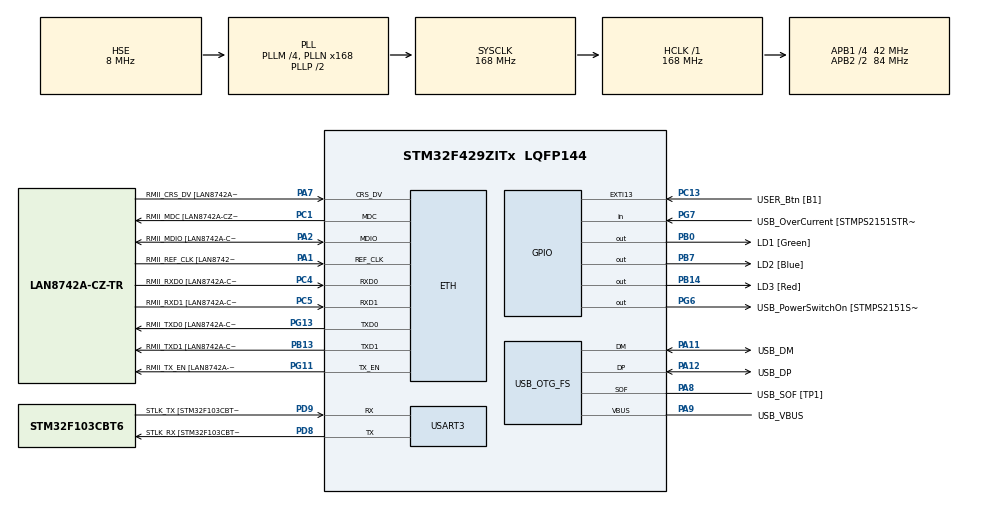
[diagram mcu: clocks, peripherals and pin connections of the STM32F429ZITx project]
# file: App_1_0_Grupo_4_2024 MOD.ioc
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ETH.MediaInterface=HAL_ETH_RMII_MODE
ETH.PHY_Name=LAN8742A_PHY_ADDRESS
ETH.PHY_Value=0
ETH.PhyAddress=0
Mcu.Family=STM32F4
Mcu.Name=STM32F429ZITx
Mcu.Package=LQFP144
NVIC.PriorityGroup=NVIC_PRIORITYGROUP_4
PA1.GPIO_Label=RMII_REF_CLK [LAN8742A-CZ-TR_REFCLK0]
PA1.Mode=RMII
PA1.Signal=ETH_REF_CLK
PA10.GPIO_Label=USB_ID
PA10.Signal=USB_OTG_FS_ID
PA11.GPIO_Label=USB_DM
PA11.Mode=Device_Only
PA11.Signal=USB_OTG_FS_DM
PA12.GPIO_Label=USB_DP
PA12.Mode=Device_Only
PA12.Signal=USB_OTG_FS_DP
PA13.GPIO_Label=TMS
PA13.Mode=Serial_Wire
PA13.Signal=SYS_JTMS-SWDIO
PA14.GPIO_Label=TCK
PA14.Mode=Serial_Wire
PA14.Signal=SYS_JTCK-SWCLK
PA2.GPIO_Label=RMII_MDIO [LAN8742A-CZ-TR_MDIO]
PA2.Mode=RMII
PA2.Signal=ETH_MDIO
PA7.GPIO_Label=RMII_CRS_DV [LAN8742A-CZ-TR_CRS_DV]
PA7.Mode=RMII
PA7.Signal=ETH_CRS_DV
PA8.GPIO_Label=USB_SOF [TP1]
PA8.Mode=Activate_SOF_FS
PA8.Signal=USB_OTG_FS_SOF
PA9.GPIO_Label=USB_VBUS
PA9.Mode=Activate_VBUS
PA9.Signal=USB_OTG_FS_VBUS
PB0.GPIO_Label=LD1 [Green]
PB0.Signal=GPIO_Output
PB13.GPIO_Label=RMII_TXD1 [LAN8742A-CZ-TR_TXD1]
PB13.Mode=RMII
PB13.Signal=ETH_TXD1
PB14.GPIO_Label=LD3 [Red]
PB14.Signal=GPIO_Output
PB7.GPIO_Label=LD2 [Blue]
PB7.Signal=GPIO_Output
PC1.GPIO_Label=RMII_MDC [LAN8742A-CZ-TR_MDC]
PC1.Mode=RMII
PC1.Signal=ETH_MDC
PC13.GPIO_Label=USER_Btn [B1]
PC13.Signal=GPXTI13
PC14/OSC32_IN.Mode=LSE-External-Oscillator
PC14/OSC32_IN.Signal=RCC_OSC32_IN
PC15/OSC32_OUT.Mode=LSE-External-Oscillator
PC15/OSC32_OUT.Signal=RCC_OSC32_OUT
PC4.GPIO_Label=RMII_RXD0 [LAN8742A-CZ-TR_RXD0]
PC4.Mode=RMII
PC4.Signal=ETH_RXD0
PC5.GPIO_Label=RMII_RXD1 [LAN8742A-CZ-TR_RXD1]
PC5.Mode=RMII
PC5.Signal=ETH_RXD1
PD8.GPIO_Label=STLK_RX [STM32F103CBT6_PA3]
PD8.Mode=Asynchronous
PD8.Signal=USART3_TX
PD9.GPIO_Label=STLK_TX [STM32F103CBT6_PA2]
PD9.Mode=Asynchronous
PD9.Signal=USART3_RX
PG11.GPIO_Label=RMII_TX_EN [LAN8742A-CZ-TR_TXEN]
PG11.Mode=RMII
PG11.Signal=ETH_TX_EN
PG13.GPIO_Label=RMII_TXD0 [LAN8742A-CZ-TR_TXD0]
PG13.Mode=RMII
PG13.Signal=ETH_TXD0
PG6.GPIO_Label=USB_PowerSwitchOn [STMPS2151STR_EN]
PG6.Signal=GPIO_Output
PG7.GPIO_Label=USB_OverCurrent [STMPS2151STR_FAULT]
PG7.Signal=GPIO_Input
PH0/OSC_IN.GPIO_Label=MCO [STM32F103CBT6_PA8]
PH0/OSC_IN.Mode=HSE-External-Clock-Source
PH0/OSC_IN.Signal=RCC_OSC_IN
PH1/OSC_OUT.Mode=HSE-External-Clock-Source
PH1/OSC_OUT.Signal=RCC_OSC_OUT
ProjectManager.HeapSize=0x200
ProjectManager.StackSize=0x400
ProjectManager.TargetToolchain=STM32CubeIDE
RCC.48MHZClocksFreq_Value=48000000
RCC.AHBFreq_Value=168000000
RCC.APB1CLKDivider=RCC_HCLK_DIV4
RCC.APB1Freq_Value=42000000
RCC.APB1TimFreq_Value=84000000
RCC.APB2CLKDivider=RCC_HCLK_DIV2
RCC.APB2Freq_Value=84000000
RCC.APB2TimCLKDivider=2
RCC.APB2TimFreq_Value=168000000
RCC.CortexFreq_Value=168000000
RCC.HCLKFreq_Value=168000000
RCC.HSE_VALUE=8000000
RCC.HSI_VALUE=16000000
RCC.PLLM=4
RCC.PLLMUL=RCC_PLL_MUL9
RCC.PLLN=168
RCC.PLLQ=7
RCC.PRESCALERUSB=RCC_USBCLKSOURCE_PLL_DIV1_5
RCC.SYSCLKFreq_VALUE=168000000
RCC.SYSCLKSource=RCC_SYSCLKSOURCE_PLLCLK
RCC.SYSCLKSourceVirtual=RCC_SYSCLKSOURCE_PLLCLK
RCC.USBFreq_Value=48000000
RCC.VCOOutputFreq_Value=336000000
USART3.VirtualMode=VM_ASYNC
USB_OTG_FS.VirtualMode=Device_Only
board=NUCLEO-F429ZI

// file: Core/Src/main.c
/* USER CODE BEGIN Header */
/**
  ******************************************************************************
  * @file           : main.c
  * @brief          : Main program body
  ******************************************************************************
  * @attention
  *
  * Copyright (c) 2024 STMicroelectronics.
  * All rights reserved.
  *
  * This software is licensed under terms that can be found in the LICENSE file
  * in the root directory of this software component.
  * If no LICENSE file comes with this software, it is provided AS-IS.
  *
  ******************************************************************************
  */
/* USER CODE END Header */
#include "main.h"
#include "string.h"

/* USER CODE BEGIN PTD */
debounceState_t debounceState = BUTTON_UP;
uint32_t debounceTimer = 0;
uint32_t previousButtonState = 0;
/* USER CODE END PTD */

/* USER CODE BEGIN PD */
void debounceFSM_init() {
    // Inicializar MEF
    debounceState = BUTTON_UP;
    debounceTimer = HAL_GetTick(); // Obtener tiempo actual

    // Inicializar GPIOs de los LEDs
    // ...

    // Inicializar GPIO del botón
    // ...
}

void debounceFSM_update() {
    uint32_t currentButtonState = GPIOC -> IDR & (1 << 13); // Leer estado actual del botón;

    switch (debounceState) {
        case BUTTON_UP:
            // Manejar el estado de botón arriba
            break;
        case BUTTON_FALLING:
            // Manejar el flanco de bajada
            break;
        case BUTTON_DOWN:
            // Manejar el estado de botón abajo
            buttonPressed(); // O cualquier otra acción apropiada
            break;
        case BUTTON_RISING:
            // Manejar el flanco de subida
            break;
        default:
            // Manejar estados inesperados o errores
            break;
    }

    previousButtonState = currentButtonState;
}

void buttonPressed() {
    // Invertir estado del LED1
    // ...
}

void buttonReleased() {
    // Invertir estado del LED3
    // ...
}
/* USER CODE END PD */

ETH_TxPacketConfig TxConfig;
ETH_DMADescTypeDef  DMARxDscrTab[ETH_RX_DESC_CNT]; /* Ethernet Rx DMA Descriptors */
ETH_DMADescTypeDef  DMATxDscrTab[ETH_TX_DESC_CNT]; /* Ethernet Tx DMA Descriptors */

ETH_HandleTypeDef heth;

UART_HandleTypeDef huart3;

PCD_HandleTypeDef hpcd_USB_OTG_FS;

void SystemClock_Config(void);
static void MX_GPIO_Init(void);
static void MX_ETH_Init(void);
static void MX_USART3_UART_Init(void);
static void MX_USB_OTG_FS_PCD_Init(void);

int main(void)
{

  /* USER CODE BEGIN 1 */
debounceFSM_init();
  /* USER CODE END 1 */

  /* MCU Configuration--------------------------------------------------------*/

  /* Reset of all peripherals, Initializes the Flash interface and the Systick. */
  HAL_Init();

  /* Configure the system clock */
  SystemClock_Config();

  /* Initialize all configured peripherals */
  MX_GPIO_Init();
  MX_ETH_Init();
  MX_USART3_UART_Init();
  MX_USB_OTG_FS_PCD_Init();

  /* Infinite loop */
  while (1)
  {
debounceFSM_update();
  }
}

void SystemClock_Config(void)
{
  RCC_OscInitTypeDef RCC_OscInitStruct = {0};
  RCC_ClkInitTypeDef RCC_ClkInitStruct = {0};

  /** Configure the main internal regulator output voltage
  */
  __HAL_RCC_PWR_CLK_ENABLE();
  __HAL_PWR_VOLTAGESCALING_CONFIG(PWR_REGULATOR_VOLTAGE_SCALE1);

  /** Initializes the RCC Oscillators according to the specified parameters
  * in the RCC_OscInitTypeDef structure.
  */
  RCC_OscInitStruct.OscillatorType = RCC_OSCILLATORTYPE_HSE;
  RCC_OscInitStruct.HSEState = RCC_HSE_BYPASS;
  RCC_OscInitStruct.PLL.PLLState = RCC_PLL_ON;
  RCC_OscInitStruct.PLL.PLLSource = RCC_PLLSOURCE_HSE;
  RCC_OscInitStruct.PLL.PLLM = 4;
  RCC_OscInitStruct.PLL.PLLN = 168;
  RCC_OscInitStruct.PLL.PLLP = RCC_PLLP_DIV2;
  RCC_OscInitStruct.PLL.PLLQ = 7;
  if (HAL_RCC_OscConfig(&RCC_OscInitStruct) != HAL_OK)
  {
    Error_Handler();
  }

  /** Initializes the CPU, AHB and APB buses clocks
  */
  RCC_ClkInitStruct.ClockType = RCC_CLOCKTYPE_HCLK|RCC_CLOCKTYPE_SYSCLK
                              |RCC_CLOCKTYPE_PCLK1|RCC_CLOCKTYPE_PCLK2;
  RCC_ClkInitStruct.SYSCLKSource = RCC_SYSCLKSOURCE_PLLCLK;
  RCC_ClkInitStruct.AHBCLKDivider = RCC_SYSCLK_DIV1;
  RCC_ClkInitStruct.APB1CLKDivider = RCC_HCLK_DIV4;
  RCC_ClkInitStruct.APB2CLKDivider = RCC_HCLK_DIV2;

  if (HAL_RCC_ClockConfig(&RCC_ClkInitStruct, FLASH_LATENCY_5) != HAL_OK)
  {
    Error_Handler();
  }
}

static void MX_ETH_Init(void)
{

   static uint8_t MACAddr[6];

  heth.Instance = ETH;
  MACAddr[0] = 0x00;
  MACAddr[1] = 0x80;
  MACAddr[2] = 0xE1;
  MACAddr[3] = 0x00;
  MACAddr[4] = 0x00;
  MACAddr[5] = 0x00;
  heth.Init.MACAddr = &MACAddr[0];
  heth.Init.MediaInterface = HAL_ETH_RMII_MODE;
  heth.Init.TxDesc = DMATxDscrTab;
  heth.Init.RxDesc = DMARxDscrTab;
  heth.Init.RxBuffLen = 1524;

  if (HAL_ETH_Init(&heth) != HAL_OK)
  {
    Error_Handler();
  }

  memset(&TxConfig, 0 , sizeof(ETH_TxPacketConfig));
  TxConfig.Attributes = ETH_TX_PACKETS_FEATURES_CSUM | ETH_TX_PACKETS_FEATURES_CRCPAD;
  TxConfig.ChecksumCtrl = ETH_CHECKSUM_IPHDR_PAYLOAD_INSERT_PHDR_CALC;
  TxConfig.CRCPadCtrl = ETH_CRC_PAD_INSERT;

}

static void MX_USART3_UART_Init(void)
{

  huart3.Instance = USART3;
  huart3.Init.BaudRate = 115200;
  huart3.Init.WordLength = UART_WORDLENGTH_8B;
  huart3.Init.StopBits = UART_STOPBITS_1;
  huart3.Init.Parity = UART_PARITY_NONE;
  huart3.Init.Mode = UART_MODE_TX_RX;
  huart3.Init.HwFlowCtl = UART_HWCONTROL_NONE;
  huart3.Init.OverSampling = UART_OVERSAMPLING_16;
  if (HAL_UART_Init(&huart3) != HAL_OK)
  {
    Error_Handler();
  }

}

static void MX_USB_OTG_FS_PCD_Init(void)
{

  hpcd_USB_OTG_FS.Instance = USB_OTG_FS;
  hpcd_USB_OTG_FS.Init.dev_endpoints = 4;
  hpcd_USB_OTG_FS.Init.speed = PCD_SPEED_FULL;
  hpcd_USB_OTG_FS.Init.dma_enable = DISABLE;
  hpcd_USB_OTG_FS.Init.phy_itface = PCD_PHY_EMBEDDED;
  hpcd_USB_OTG_FS.Init.Sof_enable = ENABLE;
  hpcd_USB_OTG_FS.Init.low_power_enable = DISABLE;
  hpcd_USB_OTG_FS.Init.lpm_enable = DISABLE;
  hpcd_USB_OTG_FS.Init.vbus_sensing_enable = ENABLE;
  hpcd_USB_OTG_FS.Init.use_dedicated_ep1 = DISABLE;
  if (HAL_PCD_Init(&hpcd_USB_OTG_FS) != HAL_OK)
  {
    Error_Handler();
  }

}

static void MX_GPIO_Init(void)
{
  GPIO_InitTypeDef GPIO_InitStruct = {0};

  /* GPIO Ports Clock Enable */
  __HAL_RCC_GPIOC_CLK_ENABLE();
  __HAL_RCC_GPIOH_CLK_ENABLE();
  __HAL_RCC_GPIOA_CLK_ENABLE();
  __HAL_RCC_GPIOB_CLK_ENABLE();
  __HAL_RCC_GPIOD_CLK_ENABLE();
  __HAL_RCC_GPIOG_CLK_ENABLE();

  /*Configure GPIO pin Output Level */
  HAL_GPIO_WritePin(GPIOB, LD1_Pin|LD3_Pin|LD2_Pin, GPIO_PIN_RESET);

  /*Configure GPIO pin Output Level */
  HAL_GPIO_WritePin(USB_PowerSwitchOn_GPIO_Port, USB_PowerSwitchOn_Pin, GPIO_PIN_RESET);

  /*Configure GPIO pin : USER_Btn_Pin */
  GPIO_InitStruct.Pin = USER_Btn_Pin;
  GPIO_InitStruct.Mode = GPIO_MODE_IT_RISING;
  GPIO_InitStruct.Pull = GPIO_NOPULL;
  HAL_GPIO_Init(USER_Btn_GPIO_Port, &GPIO_InitStruct);

  /*Configure GPIO pins : LD1_Pin LD3_Pin LD2_Pin */
  GPIO_InitStruct.Pin = LD1_Pin|LD3_Pin|LD2_Pin;
  GPIO_InitStruct.Mode = GPIO_MODE_OUTPUT_PP;
  GPIO_InitStruct.Pull = GPIO_NOPULL;
  GPIO_InitStruct.Speed = GPIO_SPEED_FREQ_LOW;
  HAL_GPIO_Init(GPIOB, &GPIO_InitStruct);

  /*Configure GPIO pin : USB_PowerSwitchOn_Pin */
  GPIO_InitStruct.Pin = USB_PowerSwitchOn_Pin;
  GPIO_InitStruct.Mode = GPIO_MODE_OUTPUT_PP;
  GPIO_InitStruct.Pull = GPIO_NOPULL;
  GPIO_InitStruct.Speed = GPIO_SPEED_FREQ_LOW;
  HAL_GPIO_Init(USB_PowerSwitchOn_GPIO_Port, &GPIO_InitStruct);

  /*Configure GPIO pin : USB_OverCurrent_Pin */
  GPIO_InitStruct.Pin = USB_OverCurrent_Pin;
  GPIO_InitStruct.Mode = GPIO_MODE_INPUT;
  GPIO_InitStruct.Pull = GPIO_NOPULL;
  HAL_GPIO_Init(USB_OverCurrent_GPIO_Port, &GPIO_InitStruct);

}

void Error_Handler(void)
{
  __disable_irq();
  while (1)
  {
  }
}
